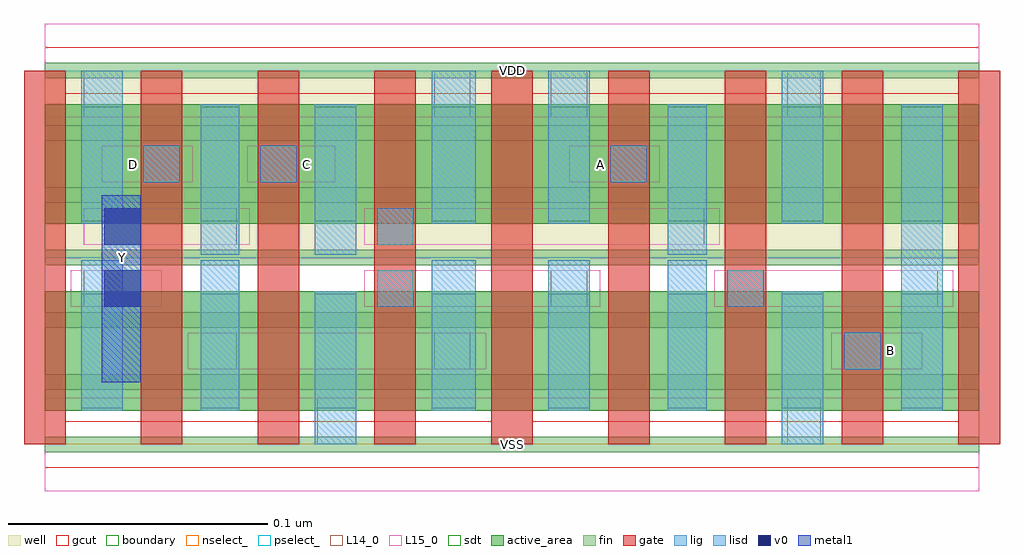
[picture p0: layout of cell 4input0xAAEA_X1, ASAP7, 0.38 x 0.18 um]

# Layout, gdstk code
import gdstk
lib = gdstk.Library(unit=1e-6, precision=1e-09)
def R(c, l, rs):  # rectangles x0, y0, x1, y1
    for r in rs: c.add(gdstk.rectangle(r[:2], r[2:], *l))
def A(c, l, x, y, w, h, nx, ny, dx, dy):  # array of equal rectangles
    R(c, l, [(x+i*dx, y+j*dy, x+i*dx+w, y+j*dy+h) for i in range(nx) for j in range(ny)])
def P(c, l, *ps):  # polygons
    for p in ps: c.add(gdstk.Polygon(p, *l))
well = (1, 0)
fin = (2, 0)
gate = (7, 0)
gcut = (10, 0)
active_area = (11, 0)
nselect_ = (12, 0)
pselect_ = (13, 0)
L14_0 = (14, 0)
L15_0 = (15, 0)
lig = (16, 0)
lisd = (17, 0)
v0 = (18, 0)
metal1 = (19, 0)
sdt = (88, 0)
boundary = (100, 0)

c_4input0xaaea_x1 = lib.new_cell('4input0xAAEA_X1')
R(c_4input0xaaea_x1, well, [(0,0.072,0.36,0.144)])
A(c_4input0xaaea_x1, fin, 0, -0.003, 0.36, 0.006, 1, 7, 0, 0.024)
A(c_4input0xaaea_x1, gate, -0.008, 0, 0.016, 0.144, 9, 1, 0.045, 0)
P(c_4input0xaaea_x1, gcut, [(0,-0.009),(0,0),(-0.008,0),(-0.008,0.135),(0.008,0.135),(0.008,0.009),(0.172,0.009),(0.172,0.135),(0.188,0.135),(0.188,0.009),(0.352,0.009),(0.352,0.135),(-0.008,0.135),(-0.008,0.144),(0,0.144),(0,0.153),(0.36,0.153),(0.36,0.144),(0.368,0.144),(0.368,0),(0.36,0),(0.36,-0.009)])
R(c_4input0xaaea_x1, active_area, [(0,0.013,0.36,0.059), (0,0.085,0.36,0.131)])
R(c_4input0xaaea_x1, nselect_, [(0,0,0.36,0.072)])
R(c_4input0xaaea_x1, pselect_, [(0,0.072,0.36,0.144)])
R(c_4input0xaaea_x1, L14_0, [(0.105,0,0.12,0.018), (0.286,0,0.299,0.018), (0.06,0.029,0.074,0.043), (0.15,0.029,0.164,0.043), (0.308,0.029,0.322,0.043), (0.015,0.053,0.03,0.067), (0.128,0.053,0.142,0.067), (0.195,0.053,0.209,0.067), (0.263,0.053,0.277,0.067), (0.33,0.053,0.344,0.067), (0.06,0.077,0.074,0.091), (0.128,0.077,0.142,0.091), (0.24,0.077,0.254,0.091), (0.038,0.101,0.052,0.115), (0.083,0.101,0.097,0.115), (0.218,0.101,0.232,0.115), (0.015,0.126,0.03,0.144), (0.15,0.126,0.164,0.144), (0.195,0.126,0.209,0.144), (0.286,0.126,0.299,0.144)])
R(c_4input0xaaea_x1, L15_0, [(0,-0.018,0.36,0.018), (0.055,0.029,0.17,0.043), (0.303,0.029,0.338,0.043), (0.01,0.053,0.045,0.067), (0.123,0.053,0.214,0.067), (0.258,0.053,0.35,0.067), (0.015,0.077,0.079,0.091), (0.123,0.077,0.26,0.091), (0.022,0.101,0.057,0.115), (0.078,0.101,0.112,0.115), (0.202,0.101,0.237,0.115), (0,0.126,0.36,0.162)])
R(c_4input0xaaea_x1, lig, [(0.308,0.029,0.322,0.043), (0.128,0.053,0.142,0.067), (0.263,0.053,0.277,0.067), (0.128,0.077,0.142,0.091), (0.038,0.101,0.052,0.115), (0.083,0.101,0.097,0.115), (0.218,0.101,0.232,0.115)])
R(c_4input0xaaea_x1, lisd, [(0.104,0,0.12,0.059), (0.284,0,0.3,0.059), (0.014,0.013,0.03,0.071), (0.06,0.013,0.075,0.071), (0.149,0.013,0.166,0.071), (0.194,0.013,0.21,0.071), (0.24,0.013,0.255,0.071), (0.33,0.013,0.346,0.131), (0.06,0.073,0.075,0.131), (0.104,0.073,0.12,0.131), (0.24,0.073,0.255,0.131), (0.014,0.085,0.03,0.144), (0.149,0.085,0.166,0.144), (0.194,0.085,0.21,0.144), (0.284,0.085,0.3,0.144)])
R(c_4input0xaaea_x1, v0, [(0.023,0.053,0.037,0.067), (0.023,0.077,0.037,0.091)])
R(c_4input0xaaea_x1, metal1, [(0.022,0.024,0.037,0.096)])
A(c_4input0xaaea_x1, sdt, 0.014, 0.014, 0.016, 0.044, 4, 2, 0.09, 0.072)
R(c_4input0xaaea_x1, sdt, [(0.06,0.014,0.075,0.058), (0.149,0.014,0.166,0.058), (0.24,0.014,0.255,0.058), (0.33,0.014,0.346,0.058), (0.06,0.086,0.075,0.13), (0.149,0.086,0.166,0.13), (0.24,0.086,0.255,0.13), (0.33,0.086,0.346,0.13)])
R(c_4input0xaaea_x1, boundary, [(0,0,0.36,0.144)])
c_4input0xaaea_x1.add(gdstk.Label('VSS', (0.18,0), layer=15, texttype=251))
c_4input0xaaea_x1.add(gdstk.Label('VDD', (0.18,0.144), layer=15, texttype=251))
c_4input0xaaea_x1.add(gdstk.Label('B', (0.326,0.036), layer=15, texttype=251))
c_4input0xaaea_x1.add(gdstk.Label('VSS', (0.18,0), layer=15, texttype=251))
c_4input0xaaea_x1.add(gdstk.Label('VDD', (0.18,0.144), layer=15, texttype=251))
c_4input0xaaea_x1.add(gdstk.Label('D', (0.034,0.108), layer=15, texttype=251))
c_4input0xaaea_x1.add(gdstk.Label('VSS', (0.18,0), layer=15, texttype=251))
c_4input0xaaea_x1.add(gdstk.Label('VDD', (0.18,0.144), layer=15, texttype=251))
c_4input0xaaea_x1.add(gdstk.Label('C', (0.101,0.108), layer=15, texttype=251))
c_4input0xaaea_x1.add(gdstk.Label('VSS', (0.18,0), layer=15, texttype=251))
c_4input0xaaea_x1.add(gdstk.Label('VDD', (0.18,0.144), layer=15, texttype=251))
c_4input0xaaea_x1.add(gdstk.Label('A', (0.214,0.108), layer=15, texttype=251))
c_4input0xaaea_x1.add(gdstk.Label('VSS', (0.18,0), layer=15, texttype=251))
c_4input0xaaea_x1.add(gdstk.Label('VDD', (0.18,0.144), layer=15, texttype=251))
c_4input0xaaea_x1.add(gdstk.Label('Y', (0.03,0.072), layer=19, texttype=251))
c_4input0xaaea_x1.add(gdstk.Label('VSS', (0.18,0), layer=3, texttype=251))
c_4input0xaaea_x1.add(gdstk.Label('VSS', (0.18,0), layer=3, texttype=251))
c_4input0xaaea_x1.add(gdstk.Label('VSS', (0.18,0), layer=3, texttype=251))
c_4input0xaaea_x1.add(gdstk.Label('VSS', (0.18,0), layer=3, texttype=251))
c_4input0xaaea_x1.add(gdstk.Label('VSS', (0.18,0), layer=3, texttype=251))
c_4input0xaaea_x1.add(gdstk.Label('VDD', (0.18,0.144), layer=1, texttype=251))
c_4input0xaaea_x1.add(gdstk.Label('VDD', (0.18,0.144), layer=1, texttype=251))
c_4input0xaaea_x1.add(gdstk.Label('VDD', (0.18,0.144), layer=1, texttype=251))
c_4input0xaaea_x1.add(gdstk.Label('VDD', (0.18,0.144), layer=1, texttype=251))
c_4input0xaaea_x1.add(gdstk.Label('VDD', (0.18,0.144), layer=1, texttype=251))

lib.write_gds('4input0xAAEA_X1.gds')
